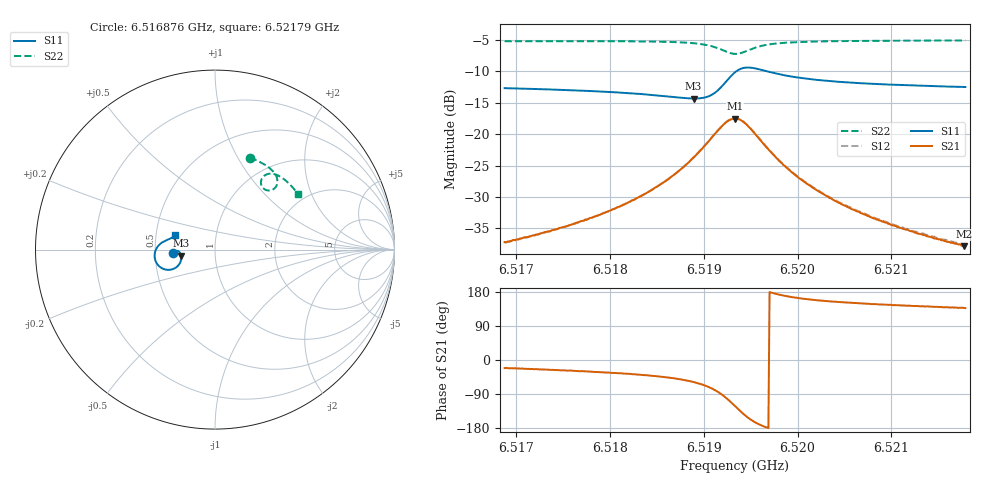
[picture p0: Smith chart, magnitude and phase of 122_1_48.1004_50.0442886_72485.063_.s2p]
#  HZ  S  RI  R  50.00
! Rohde & Schwarz Vector Network Analyzer
! Rohde-Schwarz,ZNB20-2Port,1311601062101988,3.16
! Created: UTC 12/23/2023, 3:46:51 AM
! freq[Hz]  re:S11  im:S11  re:S21  im:S21  re:S12  im:S12  re:S22  im:S22
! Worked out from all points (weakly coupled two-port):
!   401 points, 6.516876 GHz to 6.52179 GHz, reference 50 ohm
!   highest |S21| = -17.52 dB at 6.519333 GHz (marker M1); lowest = -37.8 dB at 6.521778 GHz (marker M2)
!   lowest |S11| = -14.3 dB at 6.518891 GHz (marker M3), VSWR 1.47, Z = 34 - j2.34 ohm
!   |S11| at or under -10 dB: start of sweep to 6.519347 GHz; 6.519673 GHz to end of sweep
!   |S22| runs from -7.2 to -5.1 dB; largest |S21 - S12| = 0.004
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6.5168755e9  -0.2313 -0.0195  0.0129 -0.00504  0.0129 -0.00442  0.1944 0.5125
6.5173916e9  -0.2257 -0.0118  0.0155 -0.00751  0.0156 -0.00715  0.2326 0.4968
6.5176988e9  -0.2214 -0.00827  0.0177 -0.00996  0.0179 -0.00951  0.2553 0.4855
6.5181288e9  -0.2133 -0.00558  0.022 -0.0157  0.0225 -0.015  0.2875 0.4661
6.518522e9  -0.2023 -0.00961  0.0284 -0.0269  0.0292 -0.0259  0.318 0.4416
6.5187186e9  -0.1951 -0.0176  0.0322 -0.0379  0.0335 -0.0372  0.3329 0.4238
6.5188906e9  -0.1889 -0.0331  0.0343 -0.0552  0.0363 -0.0544  0.3445 0.4014
6.5190012e9  -0.188 -0.0508  0.0319 -0.0727  0.0345 -0.0722  0.348 0.3813
6.5190995e9  -0.195 -0.0742  0.0221 -0.0939  0.0251 -0.094  0.3438 0.3586
6.5192347e9  -0.236 -0.1092  -0.02 -0.1218  -0.0165 -0.1233  0.3127 0.3306
6.519333e9  -0.2918 -0.1057  -0.0698 -0.1133  -0.0671 -0.1161  0.2745 0.3373
6.5193821e9  -0.3161 -0.0877  -0.0897 -0.095  -0.0875 -0.0983  0.261 0.3527
6.5194436e9  -0.3333 -0.0574  -0.1016 -0.0667  -0.1003 -0.0702  0.2559 0.376
6.5195541e9  -0.3327 -0.0087  -0.0956 -0.025  -0.0957 -0.0282  0.27 0.4076
6.5196647e9  -0.3167 0.02  -0.079 -0.00333  -0.0797 -0.00565  0.2926 0.4208
6.5198982e9  -0.287 0.0443  -0.0516 0.0111  -0.0525 0.00984  0.3309 0.4207
6.5201562e9  -0.2672 0.0539  -0.0352 0.0134  -0.036 0.0127  0.3597 0.4089
6.5205617e9  -0.2496 0.0615  -0.0225 0.0124  -0.0232 0.012  0.3923 0.3862
6.5209795e9  -0.2385 0.0677  -0.0159 0.0109  -0.0164 0.0108  0.4188 0.3616
6.5212744e9  -0.2324 0.0718  -0.0129 0.00987  -0.0134 0.00983  0.4351 0.3438
6.5217781e9  -0.2237 0.0787  -0.00948 0.00863  -0.00995 0.00864  0.4601 0.3126
6.5217904e9  -0.2235 0.079  -0.00946 0.00884  -0.00983 0.00848  0.4606 0.312
